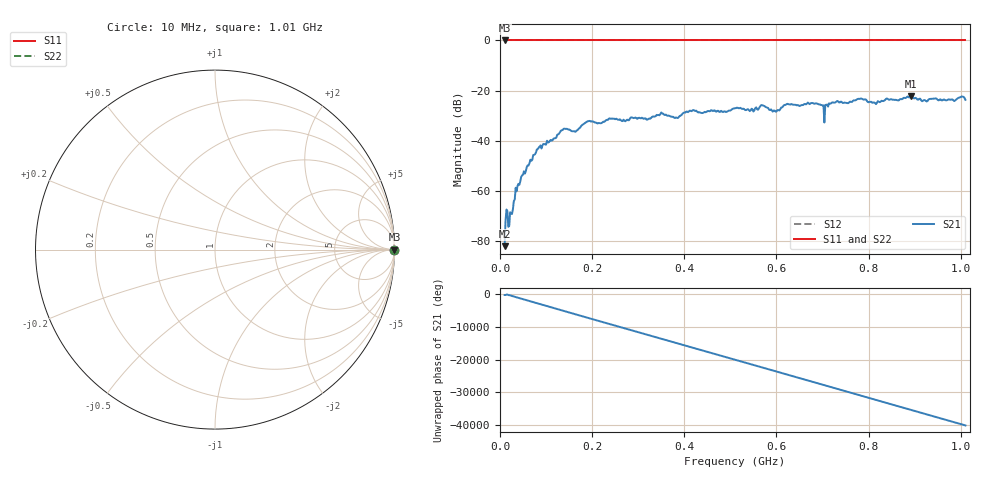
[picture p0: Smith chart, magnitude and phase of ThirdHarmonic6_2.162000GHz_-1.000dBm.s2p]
! 8/17/2025 1:48:28 AM
! C:\ANRITSUVNA\TEMP\TEMP.S2P
! CHANNEL.1
! TR.MEASUREMENT
! RAW.DATA
! RF.CORRECTION.OFF
! AVERAGING.OFF
! IF.BANDWIDTH: 5KHZ
! SWEEPTYPE:  FREQ.SWEEP(Linear)
! Reference Plane Port Info
! PORT:  PORT1  PORT2
! DISTANCE:  0  m  0  m
! TIME:  0  s  0  s
! PHASE.OFFSET:  0  deg.  0  deg.
! LOSS:  0  dB  0  dB
! REF.LOSS:  0  dB  0  dB
! REF.FREQ:  0  Hz  0  Hz
! Power Info
! POWER:  -20  dBm  -20  dBm
! EFF.POWER:  -20  dBm  -20  dBm
! SOURCE.ATTEN:  0  dB  0  dB
! TEST.ATTEN:  0  dB  0  dB
# GHZ S RI R 50.0
! FREQ.GHZ  S11RE  S11IM  S21RE  S21IM  S12RE  S12IM  S22RE  S22IM
!; PortSelection: Port_12
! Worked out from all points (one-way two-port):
!   501 points, 10 MHz to 1.01 GHz, reference 50 ohm
!   highest |S21| = -22.26 dB at 892 MHz (marker M1); lowest = -82.2 dB at 10 MHz (marker M2)
!   lowest |S11| = 0.0 dB at 10 MHz (marker M3)
!   |S11| at or under -10 dB: nowhere
!   |S22| runs from 0.0 to 0.0 dB; largest |S21 - S12| = 1.1
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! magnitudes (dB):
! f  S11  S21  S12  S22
! 10 MHz  0.0  -82.2  0.0  0.0
! 16 MHz  0.0  -68.1  0.0  0.0
! 22 MHz  0.0  -68.7  0.0  0.0
! 38 MHz  0.0  -58.2  0.0  0.0
! 84 MHz  0.0  -42.8  0.0  0.0
! 136 MHz  0.0  -35.8  0.0  0.0
! 162 MHz  0.0  -36.4  0.0  0.0
! 178 MHz  0.0  -33.8  0.0  0.0
! 344 MHz  0.0  -29.8  0.0  0.0
! 382 MHz  0.0  -30.8  0.0  0.0
! 416 MHz  0.0  -28.3  0.0  0.0
! 510 MHz  0.0  -27.1  0.0  0.0
! 546 MHz  0.0  -27.3  0.0  0.0
! 570 MHz  0.0  -25.9  0.0  0.0
! 596 MHz  0.0  -28.0  0.0  0.0
! 622 MHz  0.0  -25.5  0.0  0.0
! 678 MHz  0.0  -25.0  0.0  0.0
! 708 MHz  0.0  -25.7  0.0  0.0
! 730 MHz  0.0  -24.5  0.0  0.0
! 844 MHz  0.0  -23.7  0.0  0.0
! 892 MHz  0.0  -22.3  0.0  0.0
! 1.01 GHz  0.0  -23.7  0.0  0.0
